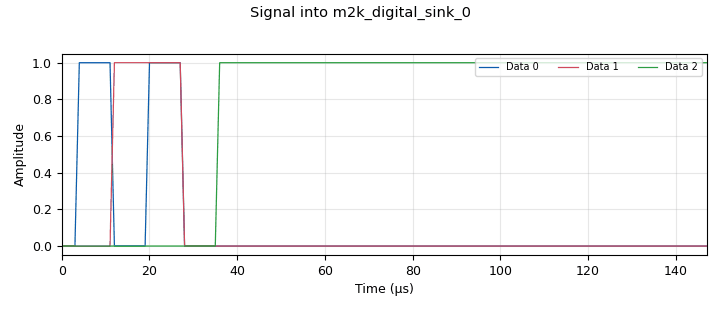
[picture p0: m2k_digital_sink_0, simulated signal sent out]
options:
  parameters:
    author: GRCon26 workshop
    comment: |-
      Three jumpers: DIO0-DIO4, DIO1-DIO5, DIO2-DIO6.

      SPI mode 0, bit-banged one bit per sample. Change spi_byte and watch the
      MOSI trace change; the decoded byte is whatever MOSI holds at each rising
      SCLK edge while CS is low.

      The buffer must be cyclic. Non-cyclic streaming underruns about half the
      time at 1 MS/s and drops samples in the middle of a frame.
    description: Bit-banged SPI mode 0 out of DIO0-2 and back in on DIO4-6.
    generate_options: qt_gui
    id: m2k_spi_loopback
    output_language: python
    title: M2K SPI loopback - three DIO pins
  states: {}

blocks:
- name: samp_rate
  id: variable
  parameters:
    value: '1000000'
  states: {}
- name: half
  id: variable
  parameters:
    comment: Samples per half clock. 8 at 1 MS/s is a 62.5 kHz SCLK.
    value: '8'
  states: {}
- name: spi_byte
  id: variable
  parameters:
    comment: The byte on the wire. Change me.
    value: '0xA5'
  states: {}
- name: frame
  id: variable
  parameters:
    comment: Frame length. The buffer must be a whole number of these.
    value: '256'
  states: {}
- name: spi_bits
  id: variable
  parameters:
    comment: MSB first, the way SPI sends it.
    value: '[(spi_byte >> (7 - i)) & 1 for i in range(8)]'
  states: {}
- name: spi_sclk
  id: variable
  parameters:
    comment: Idle low, eight pulses, idle low.
    value: '[0] * 72 + ([0] * half + [1] * half) * 8 + [0] * 56'
  states: {}
- name: spi_mosi
  id: variable
  parameters:
    comment: Each bit is presented while SCLK is low, so it is already settled at the rising edge.
    value: '[0] * 64 + [spi_bits[0]] * 8 + [b for bit in spi_bits for b in [bit] * (2 * half)] + [0] * 56'
  states: {}
- name: spi_cs
  id: variable
  parameters:
    comment: Asserted low, one frame at a time.
    value: '[1] * 64 + [0] * 144 + [1] * 48'
  states: {}
- name: sclk_src
  id: blocks_vector_source_x
  parameters:
    comment: SCLK -> DIO0
    repeat: 'True'
    type: short
    vector: spi_sclk
  states: {}
- name: mosi_src
  id: blocks_vector_source_x
  parameters:
    comment: MOSI -> DIO1
    repeat: 'True'
    type: short
    vector: spi_mosi
  states: {}
- name: cs_src
  id: blocks_vector_source_x
  parameters:
    comment: CS -> DIO2
    repeat: 'True'
    type: short
    vector: spi_cs
  states: {}
- name: m2k_digital_sink_0
  id: m2k_digital_sink
  parameters:
    buffer_size: '16384'
    comment: |-
      64 frames per buffer, pushed once and
      repeated by the hardware.
    cyclic: 'True'
    drive: '''push-pull'''
    first_pin: '0'
    idle_level: '''low'''
    pin_count: '3'
    sample_rate: samp_rate
    uri: ip:192.168.2.1
  states: {}
- name: m2k_digital_source_0
  id: m2k_digital_source
  parameters:
    buffer_size: '16384'
    comment: |-
      Triggered on CS falling, so every capture
      starts at the head of a frame.
    first_pin: '4'
    pin_count: '3'
    sample_rate: samp_rate
    trigger_condition: '''edge-falling'''
    trigger_delay: '0'
    trigger_pin: '6'
    uri: ip:192.168.2.1
  states: {}
- name: sclk_f
  id: blocks_short_to_float
  parameters:
    scale: '1'
  states: {}
- name: mosi_f
  id: blocks_short_to_float
  parameters:
    scale: '1'
  states: {}
- name: cs_f
  id: blocks_short_to_float
  parameters:
    scale: '1'
  states: {}
- name: qtgui_time_sink_x_0
  id: qtgui_time_sink_x
  parameters:
    comment: One frame is 256 samples, so 512 shows two.
    grid: 'True'
    label1: SCLK
    label2: MOSI
    label3: CS
    name: '"SPI mode 0 - captured on DIO4-6"'
    nconnections: '3'
    size: '512'
    srate: samp_rate
    type: float
    ylabel: Volts
    ymax: '1.5'
    ymin: '-0.5'
  states: {}

connections:
- [sclk_src, '0', m2k_digital_sink_0, '0']
- [mosi_src, '0', m2k_digital_sink_0, '1']
- [cs_src, '0', m2k_digital_sink_0, '2']
- [m2k_digital_source_0, '0', sclk_f, '0']
- [m2k_digital_source_0, '1', mosi_f, '0']
- [m2k_digital_source_0, '2', cs_f, '0']
- [sclk_f, '0', qtgui_time_sink_x_0, '0']
- [mosi_f, '0', qtgui_time_sink_x_0, '1']
- [cs_f, '0', qtgui_time_sink_x_0, '2']

metadata:
  file_format: 1
  grc_version: 3.10.9.2
